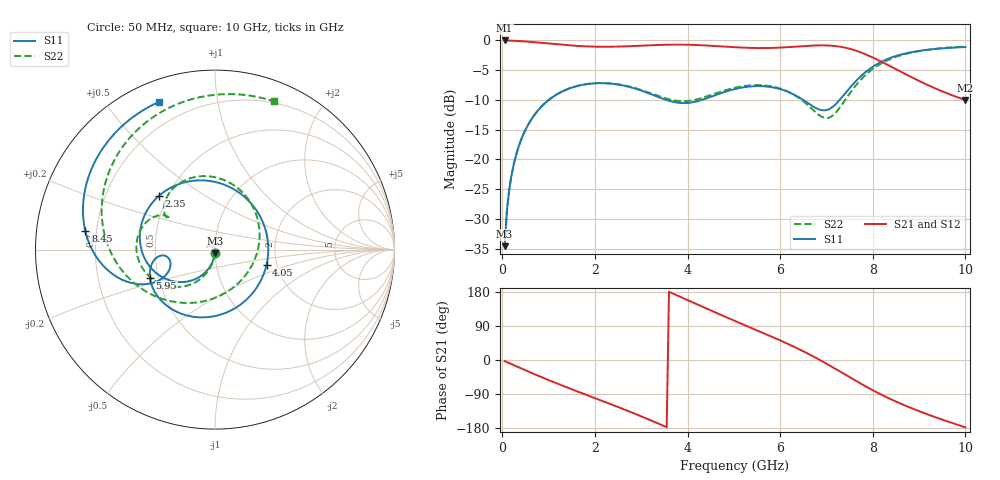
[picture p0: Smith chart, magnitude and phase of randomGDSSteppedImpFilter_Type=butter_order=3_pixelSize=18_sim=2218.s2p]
! freq	dB(S11)	phase(S11)	dB(S12)	phase(S12)
!  dB(S21)	phase(S21)	dB(S22)	phase(S22)
!S-par simulation data
#  GHz  S  DB  R 50
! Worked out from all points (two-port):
!   200 points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, 50 MHz to 10 GHz, reference 50 ohm
!   highest |S21| = 0.00 dB at 50 MHz (marker M1); lowest = -10.0 dB at 10 GHz (marker M2)
!   |S21| within 3 dB of the highest: start of sweep to 8.036 GHz
!   lowest |S11| = -34.6 dB at 50 MHz (marker M3), VSWR 1.04, Z = 49.9 - j1.85 ohm
!   |S11| at or under -10 dB: start of sweep to 1.005 GHz; 3.54 GHz to 4.311 GHz (770.6 MHz wide, 19.6 % of centre); 6.495 GHz to 7.286 GHz (791.4 MHz wide, 11.5 % of centre)
!   |S22| runs from -34.6 to -1.0 dB; largest |S21 - S12| = 0
!   S11 on the Smith chart (normalised r, x): 50 MHz: 1.00, -0.04; 2.35 GHz: 0.45, +0.33; 4.05 GHz: 1.77, -0.32; 5.95 GHz: 0.45, -0.17; 8.45 GHz: 0.16, +0.07; 10 GHz: 0.09, +0.69
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0.05  -34.61 -93.0  -0.00 -2.8  -0.00 -2.8  -34.60 -92.5
0.1  -28.60 -96.1  -0.01 -5.5  -0.01 -5.5  -28.60 -95.2
0.2  -22.65 -102.2  -0.04 -11.0  -0.04 -11.0  -22.64 -100.5
0.5  -15.05 -119.9  -0.18 -27.2  -0.18 -27.2  -15.04 -115.5
1.1  -9.46 -153.7  -0.60 -57.9  -0.60 -57.9  -9.45 -143.3
1.75  -7.44 170.7  -0.98 -89.0  -0.98 -89.0  -7.43 -169.7
2.35  -7.28 136.1  -1.06 -117.0  -1.06 -117.0  -7.24 169.1
2.9  -8.18 98.8  -0.92 -143.6  -0.92 -143.6  -8.09 153.5
3.4  -9.61 55.6  -0.76 -169.3  -0.76 -169.3  -9.42 145.7
4.05  -10.48 -16.1  -0.73 155.4  -0.73 155.4  -10.14 146.5
4.55  -9.35 -67.7  -0.92 128.2  -0.92 128.2  -9.06 143.4
5.05  -8.13 -107.1  -1.16 101.7  -1.16 101.7  -7.91 130.2
5.5  -7.68 -134.6  -1.28 78.3  -1.28 78.3  -7.52 111.8
5.95  -8.08 -156.7  -1.22 54.5  -1.22 54.5  -7.98 87.4
6.7  -11.05 -173.0  -0.86 10.4  -0.86 10.4  -11.61 18.9
7.05  -11.58 -160.2  -0.86 -13.2  -0.86 -13.2  -13.02 -44.8
7.5  -8.02 -152.0  -1.40 -45.4  -1.40 -45.4  -8.93 -124.4
7.95  -4.69 -166.1  -2.69 -76.5  -2.69 -76.5  -5.09 -173.0
8.35  -3.02 176.4  -4.23 -101.2  -4.23 -101.2  -3.22 155.4
8.45  -2.74 172.0  -4.64 -106.9  -4.64 -106.9  -2.91 148.5
9.2  -1.56 140.8  -7.55 -144.2  -7.55 -144.2  -1.56 105.2
10  -1.11 110.8  -10.02 -177.8  -10.02 -177.8  -1.02 68.2
